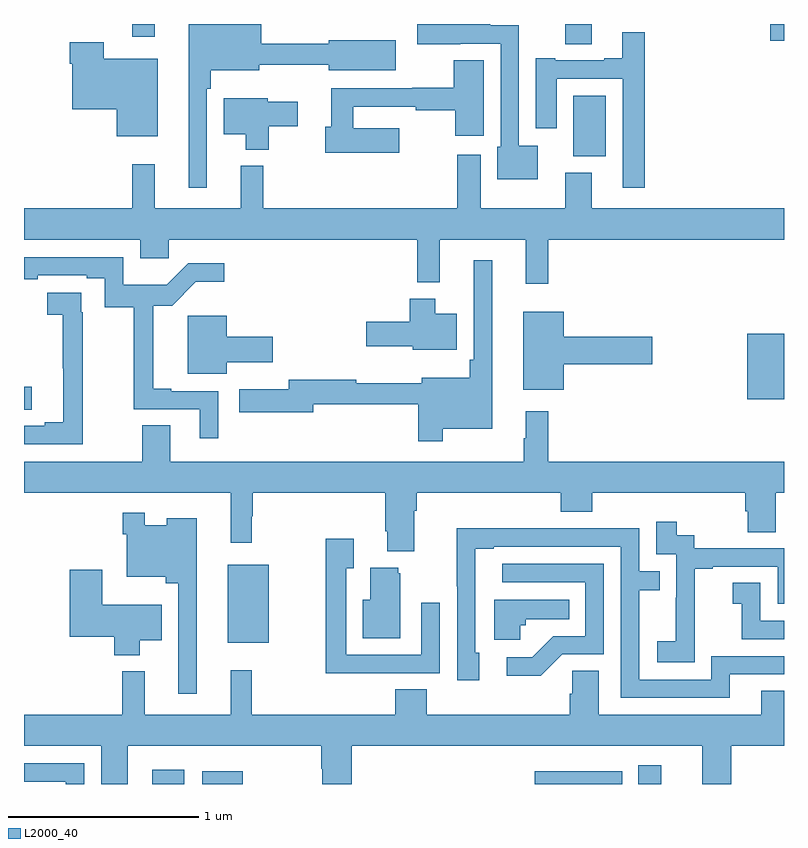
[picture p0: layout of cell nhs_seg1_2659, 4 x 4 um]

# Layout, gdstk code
import gdstk
lib = gdstk.Library(unit=1e-6, precision=1e-09)
def R(c, l, rs):  # rectangles x0, y0, x1, y1
    for r in rs: c.add(gdstk.rectangle(r[:2], r[2:], *l))
def P(c, l, *ps):  # polygons
    for p in ps: c.add(gdstk.Polygon(p, *l))
L2000_40 = (2000, 40)

nhs_seg1_2659 = lib.new_cell('nhs_seg1_2659')
R(nhs_seg1_2659, L2000_40, [(255.675,550.199,255.843,550.273), (255.938,550.199,256.15,550.267), (257.688,550.199,258.148,550.267), (258.233,550.199,258.355,550.297), (256.073,550.943,256.288,551.353), (255,552.169,255.04,552.289), (258.806,552.224,259,552.568), (257.891,553.502,258.061,553.822), (257.849,554.092,257.989,554.199), (258.927,554.111,259,554.199), (255.571,554.133,255.688,554.199)])
P(nhs_seg1_2659, L2000_40, [(257.704,553.558),(257.604,553.558),(257.604,554.192),(257.454,554.192),(257.454,554.199),(257.07,554.199),(257.07,554.093),(257.297,554.093),(257.297,554.094),(257.508,554.094),(257.508,553.554),(257.492,553.554),(257.492,553.382),(257.704,553.382)],
  [(255.963,553.859),(255.983,553.859),(255.983,553.955),(256.237,553.955),(256.237,553.985),(256.604,553.985),(256.604,553.955),(256.957,553.955),(256.957,554.113),(256.604,554.113),(256.604,554.095),(256.249,554.095),(256.249,554.199),(255.866,554.199),(255.866,553.338),(255.963,553.338)],
  [(258.266,554.155),(258.149,554.155),(258.149,554.02),(258.053,554.02),(258.053,554.007),(257.797,554.007),(257.797,554.02),(257.693,554.02),(257.693,553.65),(257.803,553.65),(257.803,553.911),(258.15,553.911),(258.15,553.338),(258.266,553.338)],
  [(255.703,554.017),(255.42,554.017),(255.42,554.104),(255.242,554.104),(255.242,553.991),(255.254,553.991),(255.254,553.751),(255.488,553.751),(255.488,553.607),(255.703,553.607)],
  [(256.975,553.651),(256.733,553.651),(256.733,553.764),(257.062,553.764),(257.062,553.744),(257.27,553.744),(257.27,553.611),(257.419,553.611),(257.419,554.008),(257.263,554.008),(257.263,553.863),(257.044,553.863),(257.044,553.86),(256.616,553.86),(256.616,553.659),(256.586,553.659),(256.586,553.522),(256.975,553.522)],
  [(256.288,553.66),(256.441,553.66),(256.441,553.789),(256.284,553.789),(256.284,553.807),(256.052,553.807),(256.052,553.619),(256.166,553.619),(256.166,553.538),(256.288,553.538)],
  [(259,553.228),(257.989,553.228),(257.989,553.417),(257.849,553.417),(257.849,553.228),(257.404,553.228),(257.404,553.51),(257.279,553.51),(257.279,553.228),(256.259,553.228),(256.259,553.453),(256.142,553.453),(256.142,553.228),(255.689,553.228),(255.689,553.462),(255.571,553.462),(255.571,553.228),(255,553.228),(255,553.064),(255.611,553.064),(255.611,552.966),(255.763,552.966),(255.763,553.064),(257.071,553.064),(257.071,552.839),(257.189,552.839),(257.189,553.064),(257.642,553.064),(257.642,552.831),(257.759,552.831),(257.759,553.064),(259,553.064)],
  [(256.023,552.267),(255.775,552.267),(255.775,552.28),(255.68,552.28),(255.68,552.717),(255.779,552.717),(255.905,552.842),(256.054,552.842),(256.054,552.939),(255.864,552.939),(255.751,552.826),(255.522,552.826),(255.522,552.972),(255,552.972),(255,552.856),(255.073,552.856),(255.073,552.876),(255.329,552.876),(255.329,552.862),(255.426,552.862),(255.426,552.709),(255.577,552.709),(255.577,552.171),(255.926,552.171),(255.926,552.018),(256.023,552.018)],
  [(257.203,552.068),(257.464,552.068),(257.464,552.955),(257.367,552.955),(257.367,552.433),(257.347,552.433),(257.347,552.337),(257.093,552.337),(257.093,552.308),(256.748,552.308),(256.748,552.326),(256.394,552.326),(256.394,552.277),(256.134,552.277),(256.134,552.155),(256.522,552.155),(256.522,552.198),(257.074,552.198),(257.074,552.003),(257.203,552.003)],
  [(255.308,552.683),(255.302,552.683),(255.302,552.785),(255.123,552.785),(255.123,552.67),(255.205,552.67),(255.205,552.387),(255.206,552.387),(255.206,552.104),(255.11,552.104),(255.11,552.084),(255,552.084),(255,551.988),(255.308,551.988)],
  [(257.278,552.673),(257.164,552.673),(257.164,552.754),(257.029,552.754),(257.029,552.633),(256.8,552.633),(256.8,552.503),(257.046,552.503),(257.046,552.485),(257.278,552.485)],
  [(257.842,552.407),(258.307,552.407),(258.307,552.554),(257.842,552.554),(257.842,552.685),(257.627,552.685),(257.627,552.275),(257.842,552.275)],
  [(256.066,552.419),(256.309,552.419),(256.309,552.554),(256.066,552.554),(256.066,552.664),(255.863,552.664),(255.863,552.359),(256.066,552.359)],
  [(257.053,551.636),(257.066,551.636),(257.066,551.732),(257.825,551.732),(257.825,551.633),(257.99,551.633),(257.99,551.732),(258.797,551.732),(258.797,551.634),(258.809,551.634),(258.809,551.524),(258.957,551.524),(258.957,551.732),(259,551.732),(259,551.896),(257.759,551.896),(257.759,552.16),(257.642,552.16),(257.642,552.02),(257.631,552.02),(257.631,551.896),(255.769,551.896),(255.769,552.086),(255.622,552.086),(255.622,551.896),(255,551.896),(255,551.732),(256.088,551.732),(256.088,551.469),(256.198,551.469),(256.198,551.609),(256.205,551.609),(256.205,551.732),(256.901,551.732),(256.901,551.53),(256.913,551.53),(256.913,551.423),(257.053,551.423)],
  [(255.91,551.599),(255.752,551.599),(255.752,551.56),(255.636,551.56),(255.636,551.626),(255.52,551.626),(255.52,551.513),(255.54,551.513),(255.54,551.291),(255.745,551.291),(255.745,551.255),(255.813,551.255),(255.813,550.674),(255.91,550.674)],
  [(258.531,551.047),(258.529,551.047),(258.529,551.331),(258.625,551.331),(258.625,551.343),(258.966,551.343),(258.966,551.148),(259,551.148),(259,551.439),(258.528,551.439),(258.528,551.508),(258.436,551.508),(258.436,551.578),(258.327,551.578),(258.327,551.409),(258.432,551.409),(258.432,551.18),(258.431,551.18),(258.431,550.951),(258.333,550.951),(258.333,550.841),(258.531,550.841)],
  [(258.715,550.776),(259,550.776),(259,550.872),(258.618,550.872),(258.618,550.749),(258.237,550.749),(258.237,551.218),(258.347,551.218),(258.347,551.319),(258.237,551.319),(258.237,551.544),(257.741,551.544),(257.741,551.546),(257.278,551.546),(257.278,551.239),(257.28,551.239),(257.28,550.746),(257.395,550.746),(257.395,550.89),(257.376,550.89),(257.376,551.436),(257.473,551.436),(257.473,551.448),(258.141,551.448),(258.141,550.653),(258.715,550.653)],
  [(256.871,550.782),(257.187,550.782),(257.187,551.152),(257.091,551.152),(257.091,550.878),(256.695,550.878),(256.695,551.335),(256.735,551.335),(256.735,551.491),(256.587,551.491),(256.587,550.781),(256.871,550.781)],
  [(257.832,550.881),(258.051,550.881),(258.051,551.358),(257.517,551.358),(257.517,551.262),(257.955,551.262),(257.955,550.977),(257.786,550.977),(257.675,550.866),(257.541,550.866),(257.541,550.769),(257.719,550.769)],
  [(256.981,551.307),(256.97,551.307),(256.97,551.338),(256.823,551.338),(256.823,551.17),(256.784,551.17),(256.784,550.967),(256.981,550.967)],
  [(255.61,550.955),(255.724,550.955),(255.724,551.143),(255.412,551.143),(255.412,551.326),(255.242,551.326),(255.242,550.973),(255.476,550.973),(255.476,550.877),(255.61,550.877)],
  [(259,551.058),(258.876,551.058),(258.876,551.257),(258.729,551.257),(258.729,551.147),(258.778,551.147),(258.778,550.962),(259,550.962)],
  [(257.613,551.034),(257.64,551.034),(257.64,551.066),(257.87,551.066),(257.87,551.17),(257.474,551.17),(257.474,550.958),(257.613,550.958)],
  [(258.025,550.796),(257.886,550.796),(257.886,550.673),(257.873,550.673),(257.873,550.564),(257.12,550.564),(257.12,550.697),(256.955,550.697),(256.955,550.564),(256.198,550.564),(256.198,550.798),(256.088,550.798),(256.088,550.564),(255.635,550.564),(255.635,550.792),(255.517,550.792),(255.517,550.564),(255,550.564),(255,550.4),(255.407,550.4),(255.407,550.199),(255.547,550.199),(255.547,550.4),(256.564,550.4),(256.564,550.28),(256.571,550.28),(256.571,550.199),(256.724,550.199),(256.724,550.4),(258.569,550.4),(258.569,550.199),(258.722,550.199),(258.722,550.4),(259,550.4),(259,550.691),(258.881,550.691),(258.881,550.564),(258.025,550.564)],
  [(255.318,550.308),(255,550.308),(255,550.212),(255.221,550.212),(255.221,550.199),(255.318,550.199)])

lib.write_gds('nhs_seg1_2659.gds')
